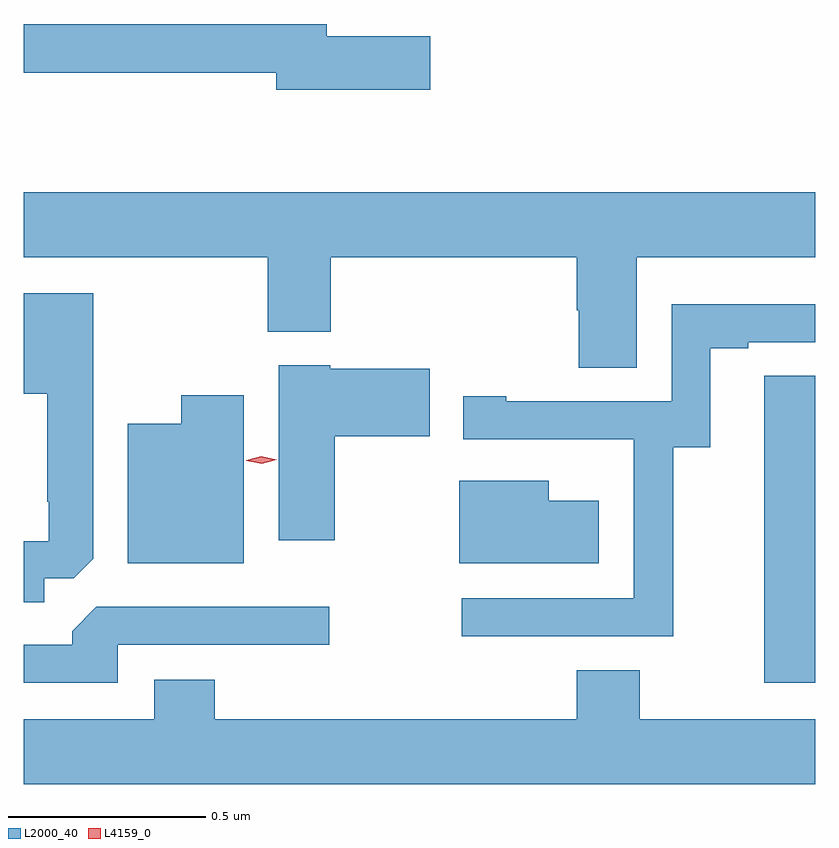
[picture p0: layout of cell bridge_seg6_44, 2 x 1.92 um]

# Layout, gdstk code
import gdstk
lib = gdstk.Library(unit=1e-6, precision=1e-09)
def P(c, l, *ps):  # polygons
    for p in ps: c.add(gdstk.Polygon(p, *l))
L2000_40 = (2000, 40)
L4159_0 = (4159, 0)

bridge_seg6_44 = lib.new_cell('bridge_seg6_44')
P(bridge_seg6_44, L2000_40, [(1103.905,967.874),(1103.644,967.874),(1103.644,967.905),(1102.878,967.905),(1102.878,967.782),(1103.516,967.782),(1103.516,967.739),(1103.905,967.739)],
  [(1104.427,967.316),(1104.878,967.316),(1104.878,967.48),(1102.878,967.48),(1102.878,967.316),(1103.494,967.316),(1103.494,967.127),(1103.654,967.127),(1103.654,967.316),(1104.275,967.316),(1104.275,967.182),(1104.28,967.182),(1104.28,967.036),(1104.427,967.036)],
  [(1102.93,966.504),(1103.004,966.504),(1103.053,966.553),(1103.053,967.225),(1102.878,967.225),(1102.878,966.971),(1102.937,966.971),(1102.937,966.697),(1102.941,966.697),(1102.941,966.597),(1102.878,966.597),(1102.878,966.443),(1102.93,966.443)],
  [(1104.519,966.835),(1104.613,966.835),(1104.613,967.086),(1104.709,967.086),(1104.709,967.101),(1104.878,967.101),(1104.878,967.197),(1104.516,967.197),(1104.516,966.951),(1104.097,966.951),(1104.097,966.964),(1103.989,966.964),(1103.989,966.855),(1104.419,966.855),(1104.419,966.854),(1104.42,966.854),(1104.42,966.453),(1103.985,966.453),(1103.985,966.357),(1104.519,966.357)],
  [(1103.664,966.863),(1103.904,966.863),(1103.904,967.033),(1103.652,967.033),(1103.652,967.042),(1103.522,967.042),(1103.522,966.6),(1103.664,966.6)],
  [(1104.878,967.016),(1104.75,967.016),(1104.75,966.908),(1104.749,966.908),(1104.749,966.24),(1104.878,966.24)],
  [(1103.434,966.967),(1103.276,966.967),(1103.276,966.895),(1103.141,966.895),(1103.141,966.542),(1103.434,966.542)],
  [(1104.331,966.7),(1104.205,966.7),(1104.205,966.751),(1103.978,966.751),(1103.978,966.542),(1104.331,966.542)],
  [(1103.115,966.336),(1103.65,966.336),(1103.65,966.432),(1103.061,966.432),(1103,966.37),(1103,966.336),(1102.878,966.336),(1102.878,966.24),(1103.115,966.24)],
  [(1104.878,966.148),(1104.435,966.148),(1104.435,966.272),(1104.275,966.272),(1104.275,966.148),(1103.36,966.148),(1103.36,966.247),(1103.207,966.247),(1103.207,966.148),(1102.878,966.148),(1102.878,965.984),(1104.878,965.984)])
P(bridge_seg6_44, L4159_0, [(1103.479,966.793),(1103.44,966.801),(1103.44,966.802),(1103.44,966.802),(1103.478,966.813),(1103.517,966.804),(1103.517,966.804),(1103.517,966.804)])

lib.write_gds('bridge_seg6_44.gds')
